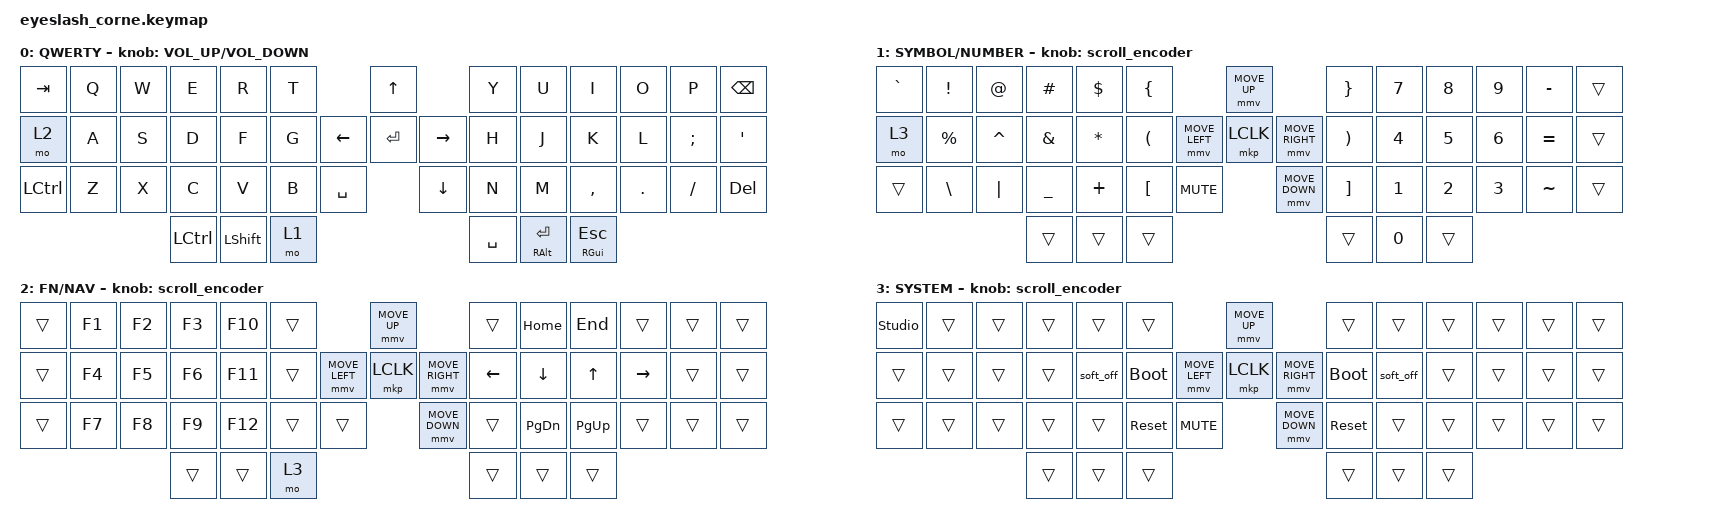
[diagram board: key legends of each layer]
#define ZMK_POINTING_DEFAULT_MOVE_VAL 1200  // 600
#define ZMK_POINTING_DEFAULT_SCRL_VAL 25   // 10

#include <input/processors.dtsi>
#include <zephyr/dt-bindings/input/input-event-codes.h>
#include <behaviors.dtsi>
#include <dt-bindings/zmk/keys.h>
#include <dt-bindings/zmk/pointing.h>
#include <dt-bindings/zmk/rgb.h>

&mmv_input_listener { input-processors = <&zip_xy_scaler 2 1>; };

&msc_input_listener { input-processors = <&zip_scroll_scaler 2 1>; };

&msc {
    acceleration-exponent = <1>;      // 0
    time-to-max-speed-ms = <100>;       // 300
    delay-ms = <0>;                   // 0
};

&mmv {
    time-to-max-speed-ms = <500>;
    acceleration-exponent = <1>;
    trigger-period-ms = <16>;
};

/ {
    behaviors {
        td0: td0 {
            compatible = "zmk,behavior-tap-dance";
            display-name = "Shift/Caps Lock Tap Dance";
            #binding-cells = <0>;
            bindings = <&kp LEFT_SHIFT>, <&kp CAPS>;
        };
    };

    rgb_encoder: rgb_encoder {
        compatible = "zmk,behavior-sensor-rotate";
        #sensor-binding-cells = <0>;
        bindings = <&rgb_ug RGB_BRI>, <&rgb_ug RGB_BRD>;
    };

    scroll_encoder: scroll_encoder {
        compatible = "zmk,behavior-sensor-rotate";
        #sensor-binding-cells = <0>;
        bindings = <&msc SCRL_DOWN>, <&msc SCRL_UP>;

        tap-ms = <100>;
    };

    keymap {
        compatible = "zmk,keymap";

        default_layer {
            display-name = "QWERTY";
            bindings = <
&kp TAB    &kp Q  &kp W  &kp E      &kp R           &kp T                         &kp UP                &kp Y      &kp U                &kp I                 &kp O    &kp P     &kp BSPC
&mo 2      &kp A  &kp S  &kp D      &kp F           &kp G               &kp LEFT  &kp ENTER  &kp RIGHT  &kp H      &kp J                &kp K                 &kp L    &kp SEMI  &kp SQT
&kp LCTRL  &kp Z  &kp X  &kp C      &kp V           &kp B  &kp SPACE              &kp DOWN              &kp N      &kp M                &kp COMMA             &kp DOT  &kp FSLH  &kp DEL
                         &kp LCTRL  &kp LEFT_SHIFT  &mo 1                                               &kp SPACE  &mt RIGHT_ALT ENTER  &mt RIGHT_GUI ESCAPE
            >;

            sensor-bindings = <&inc_dec_kp C_VOLUME_UP C_VOLUME_DOWN>;
        };

        sym_num {
            display-name = "SYMBOL/NUMBER";
            bindings = <
&kp GRAVE  &kp EXCL       &kp AT     &kp HASH   &kp DOLLAR  &kp LEFT_BRACE                                      &mmv MOVE_UP                     &kp RIGHT_BRACE        &kp N7        &kp N8        &kp N9        &kp MINUS  &trans
&mo 3      &kp PERCENT    &kp CARET  &kp AMPS   &kp STAR    &kp LEFT_PARENTHESIS                &mmv MOVE_LEFT  &mkp LCLK       &mmv MOVE_RIGHT  &kp RIGHT_PARENTHESIS  &kp NUMBER_4  &kp N5        &kp NUMBER_6  &kp EQUAL  &trans
&trans     &kp BACKSLASH  &kp PIPE   &kp UNDER  &kp PLUS    &kp LEFT_BRACKET      &kp C_MUTE                    &mmv MOVE_DOWN                   &kp RIGHT_BRACKET      &kp NUMBER_1  &kp NUMBER_2  &kp NUMBER_3  &kp TILDE  &trans
                                     &trans     &trans      &trans                                                                               &trans                 &kp N0        &trans
            >;

            sensor-bindings = <&scroll_encoder>;
        };

        fn_nav {
            display-name = "FN/NAV";
            bindings = <
&trans  &kp F1  &kp F2  &kp F3  &kp F10  &trans                            &mmv MOVE_UP                     &trans    &kp HOME        &kp END       &trans     &trans  &trans
&trans  &kp F4  &kp F5  &kp F6  &kp F11  &trans            &mmv MOVE_LEFT  &mkp LCLK       &mmv MOVE_RIGHT  &kp LEFT  &kp DOWN_ARROW  &kp UP_ARROW  &kp RIGHT  &trans  &trans
&trans  &kp F7  &kp F8  &kp F9  &kp F12  &trans  &trans                    &mmv MOVE_DOWN                   &trans    &kp PAGE_DOWN   &kp PAGE_UP   &trans     &trans  &trans
                        &trans  &trans   &mo 3                                                              &trans    &trans          &trans
            >;

            sensor-bindings = <&scroll_encoder>;
        };

        system {
            display-name = "SYSTEM";
            bindings = <
&studio_unlock  &trans  &trans  &trans  &trans     &trans                                     &mmv MOVE_UP                     &trans       &trans     &trans  &trans  &trans  &trans
&trans          &trans  &trans  &trans  &soft_off  &bootloader                &mmv MOVE_LEFT  &mkp LCLK       &mmv MOVE_RIGHT  &bootloader  &soft_off  &trans  &trans  &trans  &trans
&trans          &trans  &trans  &trans  &trans     &sys_reset   &kp C_MUTE                    &mmv MOVE_DOWN                   &sys_reset   &trans     &trans  &trans  &trans  &trans
                                &trans  &trans     &trans                                                                      &trans       &trans     &trans
            >;

            sensor-bindings = <&scroll_encoder>;
        };
    };
};
